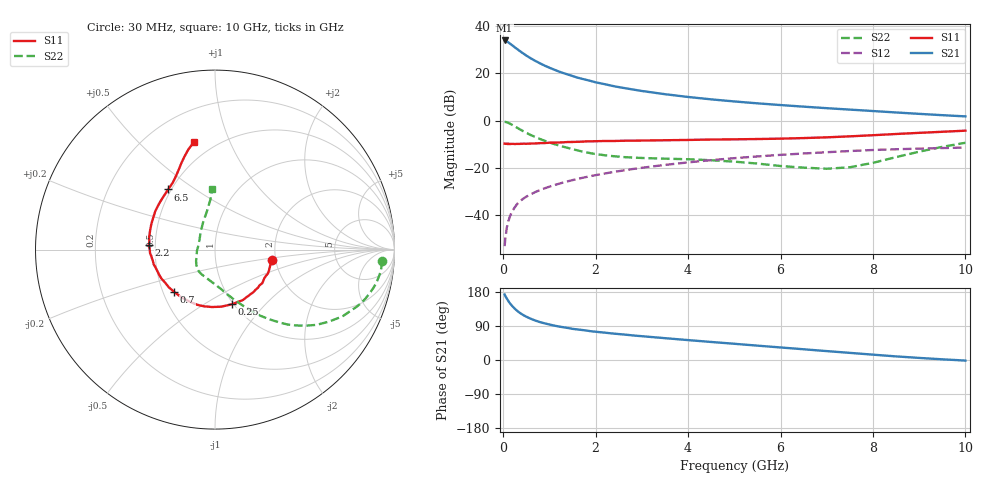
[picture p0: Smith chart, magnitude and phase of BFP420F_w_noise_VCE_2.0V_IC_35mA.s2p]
! Infineon Technologies  Discrete & RF Semiconductors
! BFP420F
! VCE =  2.0 V,  IC =  35 mA
! Common Emitter S-Parameters:  Sep 2011
# GHz  S  MA  R  50
!  f  S11  S21  S12  S22
! GHz  MAG  ANG  MAG  ANG  MAG  ANG  MAG  ANG
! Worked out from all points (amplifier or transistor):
!   54 points, 30 MHz to 10 GHz, reference 50 ohm
!   highest |S21| = 33.9 dB at 30 MHz (marker M1)
!   |S21| within 3 dB of that: start of sweep to 256.3 MHz
!   unconditionally stable (mu >= 1): 1.389 GHz to end of sweep
!   at 120 MHz: K = 0.36, MSG = 37.5 dB, |S12| = -42.2 dB
!   at 1.3 GHz: K = 0.98, MSG = 23.1 dB, |S12| = -26.2 dB
!   at 10 GHz: K = 1.22, MAG = 3.8 dB, |S12| = -11.4 dB
!   lowest NFmin = 1.93 dB at 450 MHz
!   S11 on the Smith chart (normalised r, x): 30 MHz: 1.92, -0.24; 250 MHz: 0.98, -0.67; 700 MHz: 0.57, -0.30; 2.2 GHz: 0.46, +0.03; 6.5 GHz: 0.48, +0.39; 10 GHz: 0.39, +0.74
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0.03  0.3246 -10.1  49.29 172.7  0.0022 91.2  0.9325 -3.8
0.05  0.3198 -15.8  48.25 167.8  0.0038 85.4  0.9315 -7.3
0.07  0.3235 -24.1  47.61 163.8  0.0048 83.9  0.9212 -10.6
0.1  0.3209 -33.3  45.8 157.6  0.0069 81.1  0.8986 -15.2
0.12  0.3179 -39.0  44.31 153.8  0.0078 80.3  0.8813 -18.1
0.15  0.3192 -47.6  42.01 148.9  0.0097 78.0  0.8519 -21.9
0.2  0.321 -61.2  38.57 141.7  0.0123 74.9  0.8014 -27.7
0.25  0.3188 -73.2  35.25 135.4  0.0146 72.7  0.7499 -32.4
0.35  0.3203 -92.9  29.87 125.2  0.019 69.4  0.6581 -40.1
0.45  0.3231 -107.9  25.52 117.4  0.0228 67.4  0.5827 -45.8
0.6  0.3253 -125.1  20.51 108.6  0.0276 66.2  0.4903 -52.2
0.7  0.3276 -133.8  18.12 103.9  0.0309 65.7  0.445 -55.7
0.9  0.3334 -146.6  14.41 96.6  0.0369 65.5  0.3718 -61.3
1.1  0.3413 -156.3  11.94 90.9  0.0429 65.4  0.3185 -66.6
1.7  0.3565 -174.3  7.637 79.3  0.0609 64.5  0.2217 -81.3
2.2  0.3693 176.0  5.85 72.1  0.0758 63.0  0.1838 -94.4
3.5  0.3824 157.8  3.6 57.6  0.115 56.8  0.1559 -119.5
5.5  0.4056 138.6  2.306 37.9  0.1738 44.3  0.1229 -149.0
6.5  0.425 127.9  1.963 28.3  0.2007 37.5  0.1008 -176.0
7  0.4406 122.3  1.822 23.5  0.2134 34.0  0.0954 166.2
8.5  0.5185 111.1  1.479 9.5  0.2467 22.8  0.1681 112.9
10  0.6094 101.2  1.222 -1.5  0.2681 13.5  0.3379 92.4
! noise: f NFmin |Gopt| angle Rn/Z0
0.45  1.93  0.32  -175  0.1
0.9  1.94  0.34  -172  0.13
1.9  2.07  0.39  -162  0.12
2.4  2.14  0.38  -155  0.13
3.5  2.39  0.37  -143  0.19
